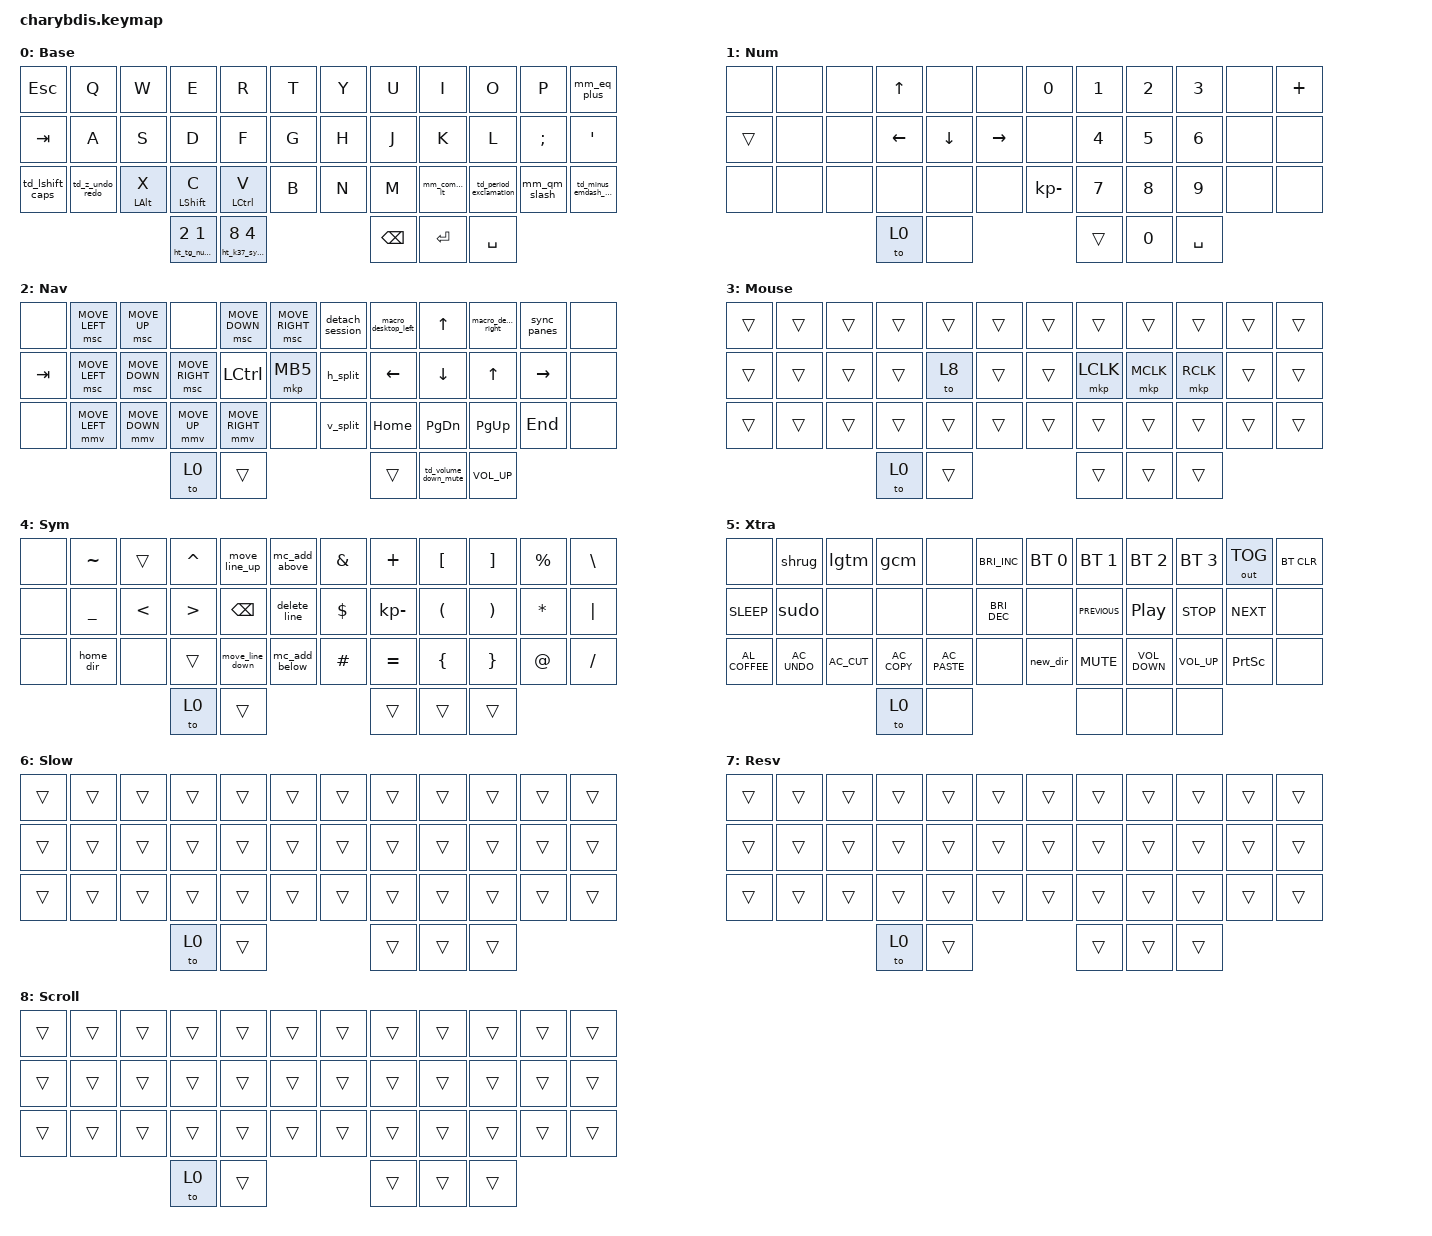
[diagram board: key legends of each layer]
/* upstream bindings and behaviors */
#include <behaviors.dtsi>
#include <dt-bindings/zmk/bt.h>
#include <dt-bindings/zmk/keys.h>
#include <dt-bindings/zmk/mouse.h>
#include <dt-bindings/zmk/outputs.h>
#include <behaviors/mouse_keys.dtsi>
#include <dt-bindings/zmk/ext_power.h>

/* local overlays */
#include "macros.dtsi"
#include "behaviors.dtsi"
#include "combos.dtsi"

/ {
/* --- KEYMAP CONFIG --- */
// ╭──────┬──────┬──────┬──────┬──────┬──────╮  ╭──────┬──────┬──────┬──────┬──────┬──────╮
//    00     01     02     03    04      05        06     07     08     09     10     11
// ├──────┼──────┼──────┼──────┼──────┼──────┤  ├──────┼──────┼──────┼──────┼──────┼──────┤
//    12     13     14     15    16      17        18     19     20     21     22     23
// ├──────┼──────┼──────┼──────┼──────┼──────┤  ├──────┼──────┼──────┼──────┼──────┼──────┤
//    24     25     26     27    28      29        30     31     32     33     34     35
// ╰──────┴──────┴──────┼──────┼──────┼──────┤  ├──────┼──────┼──────┴──────┴──────┴──────╯
//                         36     37     38        39     40
//                      ╰──────┴──────┴──────╯  ╰──────┴──────╯


    keymap {
        compatible = "zmk,keymap";
        BASE {
            display-name = "Base";
            bindings = <
// ╭───────────────┬────────────────┬────────────────┬─────────────────┬─────────────────┬──────╮  ╭──────┬──────────────────┬──────────────────┬─────────────────┬────────────────────────┬─────────────╮
    &kp ESC         &kp Q            &kp W            &kp E             &kp R             &kp T     &kp Y  &kp U              &kp I              &kp O            &kp P                    &mm_eq_plus
// ├───────────────┼────────────────┼────────────────┼─────────────────┼─────────────────┼──────┤  ├──────┼──────────────────┼──────────────────┼─────────────────┼────────────────────────┼─────────────┤
    &kp TAB         &kp A            &kp S            &kp D              &kp F            &kp G     &kp H  &kp J              &kp K              &kp L             &kp SEMICOLON            &kp APOSTROPHE
// ├───────────────┼────────────────┼────────────────┼─────────────────┼─────────────────┼──────┤  ├──────┼──────────────────┼──────────────────┼─────────────────┼────────────────────────┼─────────────┤
    &td_lshift_caps &td_z_undo_redo  &ht_left LALT X  &ht_left LSHFT C   &ht_left LCTRL V  &kp B     &kp N  &kp M              &mm_comma_lt       &td_period_exclamation &mm_qm_slash             &td_minus_emdash_morph
// ╰───────────────┴────────────────┴────────────────┼─────────────────┼─────────────────┼──────┤  ├──────┼──────────────────┼──────────────────┴─────────────────┴────────────────────────┴─────────────╯
                                                             &ht_tg_num_nav 2 1  &ht_k37_sym_scroll 8 4  &kp BACKSPACE     &kp ENTER      &kp SPACE
                                                         // ╰───────────────┴─────────────┴────────────────╯  ╰──────────────┴──────────────╯
                                                         //   Tap: NUM (1)   Hold: NAV (2)    Space           Enter          Space
            >;
        };

        NUM {
            display-name = "Num";
            bindings = <
&none           &none  &none  &kp UP           &none          &none            &kp N0             &kp N1             &kp N2             &kp N3             &none              &kp PLUS
&trans          &none  &none  &kp LEFT_ARROW   &kp DOWN       &kp RIGHT_ARROW  &none              &kp N4             &kp N5             &kp N6             &none              &none
&none           &none  &none  &none            &none          &none            &kp KP_MINUS      &kp N7             &kp N8             &kp N9             &none              &none
                                                              &to 0           &none              &trans             &kp N0             &kp SPACE
            >;
        };

        NAV {
            display-name = "Nav";
            bindings = <
&none    &msc MOVE_LEFT  &msc MOVE_UP    &none              &msc MOVE_DOWN  &msc MOVE_RIGHT     &detach_session  &macro_desktop_left &kp UP       &macro_desktop_right &sync_panes       &none
&kp TAB  &msc MOVE_LEFT  &msc MOVE_DOWN  &msc MOVE_RIGHT    &kp LCTRL       &mkp MB5            &h_split         &kp LEFT_ARROW     &kp DOWN     &kp UP          &kp RIGHT_ARROW   &none
&none    &mmv MOVE_LEFT  &mmv MOVE_DOWN  &mmv MOVE_UP       &mmv MOVE_RIGHT &none               &v_split         &kp HOME           &kp PG_DN    &kp PG_UP       &kp END           &none
                                                     &to 0   &trans   &trans                   &td_volume_down_mute   &kp C_VOLUME_UP
            >;
        };

        mouse_layer: MOUSE {
            display-name = "Mouse";
            bindings = <
&trans   &trans     &trans     &trans     &trans     &trans     &trans     &trans     &trans     &trans     &trans     &trans
&trans   &trans     &trans     &trans     &to 8      &trans     &trans     &mkp LCLK  &mkp MCLK  &mkp RCLK  &trans     &trans
&trans   &trans     &trans     &trans     &trans     &trans     &trans     &trans     &trans     &trans     &trans     &trans
                                          &to 0      &trans     &trans     &trans     &trans
            >;
        };

        SYM {
            display-name = "Sym";
            bindings = <
&none  &kp TILDE  &trans    &kp CARET  &move_line_up    &mc_add_above      &kp AMPS   &kp PLUS     &kp LBKT  &kp RBKT  &kp PRCNT  &kp BSLH
&none  &kp UNDER  &kp LT    &kp GT     &kp BACKSPACE    &delete_line       &kp DLLR   &kp KP_MINUS &kp LPAR  &kp RPAR  &kp ASTRK  &kp PIPE
&none  &home_dir  &none     &trans     &move_line_down  &mc_add_below      &kp HASH   &kp EQUAL    &kp LBRC  &kp RBRC  &kp AT     &kp FSLH
                                       &to 0  &trans    &trans             &trans     &trans
            >;
        };

        EXTRAS {
            display-name = "Xtra";
            bindings = <
&none             &shrug          &lgtm           &gcm            &none           &kp C_BRIGHTNESS_INC    &bt BT_SEL 0  &bt BT_SEL 1    &bt BT_SEL 2       &bt BT_SEL 3      &out OUT_TOG         &bt BT_CLR
&kp C_SLEEP       &sudo           &none           &none           &none           &kp C_BRIGHTNESS_DEC    &none         &kp C_PREVIOUS  &kp C_PLAY_PAUSE   &kp C_STOP        &kp C_NEXT           &none
&kp C_AL_COFFEE   &kp C_AC_UNDO   &kp C_AC_CUT    &kp C_AC_COPY   &kp C_AC_PASTE  &none                   &new_dir      &kp K_MUTE      &kp C_VOLUME_DOWN  &kp C_VOLUME_UP   &kp PRINTSCREEN      &none
                                                                                  &to 0  &none  &none     &none         &none
            >;
        };

        SLOW {
            display-name = "Slow";
            bindings = <
&trans    &trans    &trans    &trans    &trans    &trans    &trans    &trans    &trans    &trans    &trans    &trans
&trans    &trans    &trans    &trans    &trans    &trans    &trans    &trans    &trans    &trans    &trans    &trans
&trans    &trans    &trans    &trans    &trans    &trans    &trans    &trans    &trans    &trans    &trans    &trans
                              &to 0     &trans    &trans    &trans    &trans
            >;
        };

        RESV {
            display-name = "Resv";
            bindings = <
&trans    &trans    &trans    &trans    &trans    &trans    &trans    &trans    &trans    &trans    &trans    &trans
&trans    &trans    &trans    &trans    &trans    &trans    &trans    &trans    &trans    &trans    &trans    &trans
&trans    &trans    &trans    &trans    &trans    &trans    &trans    &trans    &trans    &trans    &trans    &trans
                              &to 0     &trans    &trans    &trans    &trans
            >;
        };

        SCROLL {
            display-name = "Scroll";
            bindings = <
&trans    &trans    &trans    &trans    &trans    &trans    &trans    &trans    &trans    &trans    &trans    &trans
&trans    &trans    &trans    &trans    &trans    &trans    &trans    &trans    &trans    &trans    &trans    &trans
&trans    &trans    &trans    &trans    &trans    &trans    &trans    &trans    &trans    &trans    &trans    &trans
                              &to 0     &trans    &trans    &trans    &trans
            >;
        };
    };
};
